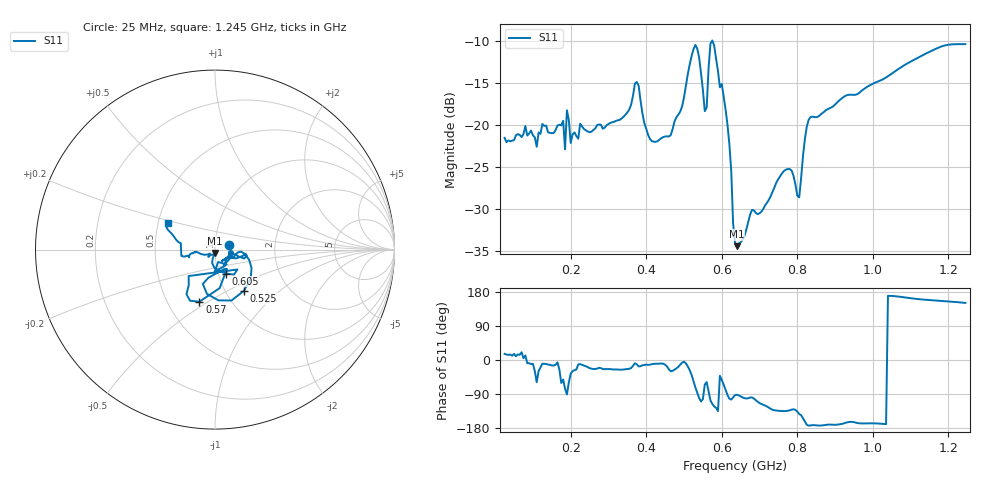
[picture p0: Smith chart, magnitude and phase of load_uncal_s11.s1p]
!Created with skrf (http://scikit-rf.org).
# Hz S RI R 50.0
!freq ReS11 ImS11
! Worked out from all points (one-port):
!   245 points, 25 MHz to 1.245 GHz, reference 50 ohm
!   lowest |S11| = -34.5 dB at 640 MHz (marker M1), VSWR 1.04, Z = 49.9 - j1.88 ohm
!   |S11| at or under -10 dB: start of sweep to 574.7 MHz; 575.2 MHz to end of sweep
!   S11 on the Smith chart (normalised r, x): 25 MHz: 1.17, +0.05; 525 MHz: 1.22, -0.61; 570 MHz: 0.72, -0.46; 605 MHz: 1.09, -0.30; 1.245 GHz: 0.56, +0.18
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2.5e7  0.0801 0.0232
1.1e8  0.0383 -0.0631
1.8e8  0.0654 -0.0826
1.85e8  0.0178 -0.0689
1.9e8  -0.00168 -0.1216
2e8  0.0628 -0.0458
3.3e8  0.0963 -0.0461
3.75e8  0.176 -0.0352
4.15e8  0.0783 -0.0151
4.85e8  0.1091 -0.0354
5.05e8  0.169 -0.0259
5.25e8  0.1609 -0.2298
5.45e8  -0.0679 -0.1911
5.55e8  0.051 -0.1089
5.6e8  0.0662 -0.1074
5.7e8  -0.0872 -0.2906
5.9e8  -0.1467 -0.1474
5.95e8  0.1246 -0.1108
6.05e8  0.0624 -0.1332
6.2e8  -0.0159 -0.0752
6.35e8  -0.000928 -0.0197
6.4e8  -0.000619 -0.0189
7.9e8  -0.0318 -0.0379
8.05e8  -0.0292 -0.0225
8.3e8  -0.106 -0.0125
9.4e8  -0.1443 -0.0434
1.095e9  -0.2241 0.0658
1.245e9  -0.2625 0.1479
